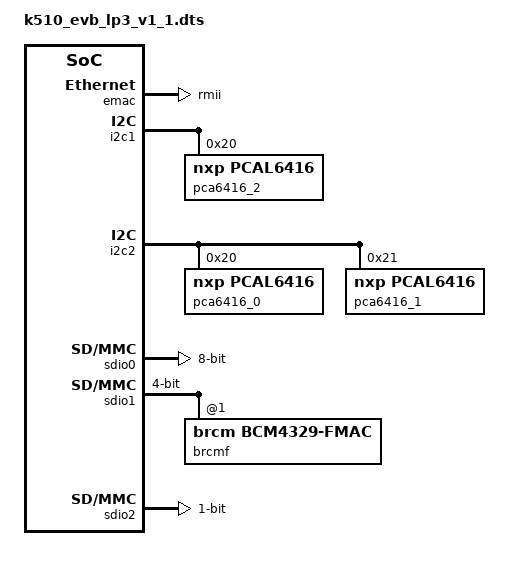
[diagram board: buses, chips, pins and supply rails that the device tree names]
/* Copyright (c) 2022, Canaan Bright Sight Co., Ltd
 *
 * This program is free software; you can redistribute it and/or modify
 * it under the terms of the GNU General Public License version 2 as
 * published by the Free Software Foundation.
*/
#include "k510_common/k510.dtsi"                    /* k510 soc top, include cpu/cache/memory/noc/axi/ahb/apb/sysctl etc. */
#include "k510_common/interrupt_provider.dtsi"      /* k510 soc interrupt controller */
#include "k510_common/interrupt_consumer.dtsi"      /* k510 soc and evb device interrupt consumer */
#include "k510_common/clock_provider.dtsi"          /* k510 soc clock tree */
#include "k510_common/clock_consumer.dtsi"          /* k510 soc and evb clock consumer */
#include "k510_common/reset_provider.dtsi"          /* k510 soc reset provider */
#include "k510_common/reset_consumer.dtsi"          /* k510 soc reset consumer */
#include "k510_common/power_provider.dtsi"          /* k510 soc power provider */
#include "k510_common/power_consumer.dtsi"          /* k510 soc power consumer */
#include "k510_common/dma_provider.dtsi"            /* k510 soc dma provider */
#include "k510_common/dma_consumer.dtsi"            /* k510 soc dma consumer */
#include "k510_common/gpio_provider.dtsi"           /* k510 soc gpio provider */
//#include "k510_common/gpio_consumer.dtsi"           /* k510 soc gpio consumer */
#include "k510_common/iomux_provider.dtsi"          /* k510 soc iomux provider */
#include "k510_common/iomux_consumer.dtsi"          /* k510 soc iomux consumer */

/* evalution board device tree, include nandflash/emmc/ethphy/sensor/hdmi/pmic etc. */

/ {
    chosen {
        bootargs            = "root=/dev/nfs rw nfsroot=10.100.226.63:/home/yangguang/nfs_server/k510_nfsroot ip=10.100.226.221:10.100.226.63:10.100.226.254:255.255.255.0:k510:eth0:off console=ttyS0,115200n8 debug loglevel=7";
        stdout-path         = "uart0:115200n8";
    };
};


&ddr_memory {
    reg = <0x0 0x00000000 0x0 0x8000000>;  /*0~128M*/
};

/*DSP: 128M to 136M*/
    
&sharem {
    reg = <0x0 0x8800000 0x0 0x17600000>;  /*136M~512M*/
};

&serial0 {
    clock-frequency = <25000000>;
    reg-shift = <2>;
    reg-io-width = <4>;
    no-loopback-test = <1>;
};

&spi0 {
    status = "okay";
    num-cs = <4>;
    reg-io-width = <4>;
    spi-nand@0 {
        #address-cells = <1>;
            #size-cells = <1>;
            compatible = "spi-nand";
            spi-max-frequency = <840000>;
            reg = <0 0 0 0>;
            partition@0 {
                    label = "uboot-1";
                    reg = <0x00000000 0x00100000>;
            };

            partition@100000 {
                    label = "uboot-2";
                    reg = <0x00100000 0x00100000>;
            };

            partition@200000 {
                    label = "uboot-2";
                    reg = <0x00200000 0x00100000>;
            };

            partition@300000 {
                    label = "env";
                    reg = <0x00300000 0x00020000>;
            };

            partition@320000 {
                    label = "dtb";
                    reg = <0x00320000 0x00020000>;
            };

            partition@340000 {
                    label = "kernel";
                    reg = <0x00340000 0x01CC0000>;
            };

            partition@2000000 {
                    label = "rootfs";
                    reg = <0x02000000 0x06000000>;
            };
    };
};

&iomux {
/*    pinctrl-0 = <&uart0_pins &emac_pins &mmc0_pins &mmc2_pins  &pwm0_pins &pwm1_pins &sensor_pins &i2c1_pins &i2c2_pins &spi0_pins &dvp_pins &bt1120_pins>;
*/
    uart0_pins: iomux_uart0_pins {
        pinctrl-k510,pins = <
            (112) (FUNC_UART0_SIN)
            (113) (FUNC_UART0_SOUT)
        >;
    };

    i2c1_pins: iomux_i2c1pins {
        pinctrl-k510,pins = <
            (116) (FUNC_I2C1_SDA)
            (117) (FUNC_I2C1_SCLK)
        >;
    };

    i2c2_pins: iomux_i2c2_pins {
        pinctrl-k510,pins = <
            (118) (FUNC_I2C2_SDA)
            (119) (FUNC_I2C2_SCLK)

        >;
    };

    spi0_pins: iomux_spi0_pins {
        pinctrl-k510,pins = <
          (86) (FUNC_SPI0_CLK)
          (87) (FUNC_SPI0_CS)
          (88) (FUNC_SPI0_D0)
          (89) (FUNC_SPI0_D1)
          (90) (FUNC_SPI0_D2)
          (91) (FUNC_SPI0_D3)
          (92) (FUNC_SPI0_D4)
          (93) (FUNC_SPI0_D5)
          (94) (FUNC_SPI0_D6)
          (95) (FUNC_SPI0_D7)
        >;
    };

    dvp_pins:omux_dvp_pins{
        pinctrl-k510,pins = <
            (51) (FUNC_DVP_D4   )
            (52) (FUNC_DVP_D5   )
            (53) (FUNC_DVP_D6   )
            (54) (FUNC_DVP_D7   )
            (55) (FUNC_DVP_D8   )
            (56) (FUNC_DVP_D9   )
            (57) (FUNC_DVP_D10  )
            (58) (FUNC_DVP_D11  )
            (59) (FUNC_DVP_D12  )
            (60) (FUNC_DVP_D13  )
            (61) (FUNC_DVP_D14  )
            (62) (FUNC_DVP_D15  )
            (63) (FUNC_DVP_VSYNC)
            (64) (FUNC_DVP_HREF )
            (66) (FUNC_DVP_PCLK )
        >;
    };
/*
    sensor_pins: iomux_sensor_pins {
        pinctrl-k510,pins = <
            (125) (FUNC_GPIO0)
            (123) (FUNC_GPIO1)
            (105) (FUNC_GPIO2)
            (107) (FUNC_GPIO3)
        >;
    };
*/
    gpio_pins: iomux_gpio_pins {
        pinctrl-k510,pins = <
            (125) (FUNC_GPIO0)
            (123) (FUNC_GPIO1)
            (105) (FUNC_GPIO2)
            (107) (FUNC_GPIO3)
        >;
    };

    bt1120_pins: iomux_bt1120_pins {
        pinctrl-k510,pins = <
                        (67) (FUNC_BT1120_OUT_DATA_D0)
                        (68) (FUNC_BT1120_OUT_DATA_D1)
                        (69) (FUNC_BT1120_OUT_DATA_D2)
                        (70) (FUNC_BT1120_OUT_DATA_D3)
                        (71) (FUNC_BT1120_OUT_DATA_D4)
                        (72) (FUNC_BT1120_OUT_DATA_D5)
                        (73) (FUNC_BT1120_OUT_DATA_D6)
                        (74) (FUNC_BT1120_OUT_DATA_D7)
                        (75) (FUNC_BT1120_OUT_DATA_C0)
                        (76) (FUNC_BT1120_OUT_DATA_C1)
                        (77) (FUNC_BT1120_OUT_DATA_C2)
                        (78) (FUNC_BT1120_OUT_DATA_C3)
                        (79) (FUNC_BT1120_OUT_DATA_C4)
                        (80) (FUNC_BT1120_OUT_DATA_C5)
                        (81) (FUNC_BT1120_OUT_DATA_C6)
                        (82) (FUNC_BT1120_OUT_DATA_C7)
                        (83) (FUNC_BT1120_OUT_CLK    )
                        (84) (FUNC_BT1120_OUT_VSYNC  )
                        (85) (FUNC_BT1120_OUT_HSYNC  )
        >;
    };

    pwm0_pins: iomux_pwm0_pins {
        pinctrl-k510,pins = <
            (17) (FUNC_PWM_PINS_1_IO_PINS_PWM_1_O_OVAL)
        >;
    };

    pwm1_pins: iomux_pwm1_pins {
        pinctrl-k510,pins = <
            (18) (FUNC_PWM_PINS_1_IO_PINS_PWM_5_O_OVAL)
        >;
    };

};

&serial0 {
    pinctrl-names = "default";
    pinctrl-0 = <&uart0_pins>;

};

&emac {
    phy-mode = "rmii";

    pinctrl-names = "default";
    pinctrl-0 = <&emac_pins>;
};


&i2c0 {
    status = "disable";
};

&i2c1 {
    #address-cells  = <1>;
    #size-cells     = <0>;
    status = "okay";
    pinctrl-names = "default";
    pinctrl-0 = <&i2c1_pins>;

    pca6416_2: gpio@20 {
                compatible = "nxp,pcal6416";
                reg = <0x20>;
                gpio-controller;
                #gpio-cells = <2>;
        };

};

// pcal6416 & mipi csi imx219
&i2c2 {
    #address-cells  = <1>;
    #size-cells     = <0>;
    status = "okay";
    pinctrl-names = "default";
    pinctrl-0 = <&i2c2_pins>;

    pca6416_0: gpio@20 {
        compatible = "nxp,pcal6416";
        reg = <0x20>;
        gpio-controller;
        #gpio-cells = <2>;

    };


    pca6416_1: gpio@21 {
                compatible = "nxp,pcal6416";
                reg = <0x21>;
        gpio-controller;
                #gpio-cells = <2>;
        };

};


&i2c3 {
    status = "disable";
};

&i2c4 {
    status = "disable";
};

&i2c5 {
    status = "disable";
};

&i2c6 {
    status = "disable";
};

&sdio0 {
    status    = "okay";
    bus-width = <8>;
    //mmc-pwrseq = <&emmc_pwrseq>;

    pinctrl-names = "default";
    pinctrl-0 = <&mmc0_pins>;

};

&sdio1 {
    status = "okay";

    bus-width = <4>;
    #address-cells = <1>;
    #size-cells = <0>;
    brcmf: wifi@1 {
        reg = <1>;
        compatible = "brcm,bcm4329-fmac";
    };
};

&sdio2 {
    status    = "okay";
    bus-width = <1>;
    cap-sd-highspeed;

    pinctrl-names = "default";
    pinctrl-0 = <&mmc2_pins>;

};

&spi0 {
    status = "disable";

    pinctrl-names = "default";
    pinctrl-0 = <&spi0_pins>;

};

&spi1 {
    status = "disable";
};

&spi2 {
    status = "disable";
};

&spis {
    status = "disable";
};

&gpio {
    pinctrl-names = "default";
    pinctrl-0 = <&gpio_pins>;
};

&isp {
    compatible = "isp";
    reg = <0x0 0x92600000 0x0 0x200000>;

    dsi_en-gpios = <&pca6416_2 12 GPIO_ACTIVE_HIGH>;
    dsi_rest-gpios = <&pca6416_2 3 GPIO_ACTIVE_LOW>;
    csi_en-gpios = <&pca6416_2 4 GPIO_ACTIVE_HIGH>;

    imx385_powerdown-gpios = <&porta 0 GPIO_ACTIVE_HIGH>;
    imx385_reset-gpios = <&porta 1 GPIO_ACTIVE_HIGH>;

    irs3281_powerdown-gpios = <&porta 2 GPIO_ACTIVE_HIGH>;
    irs3281_reset-gpios = <&porta 3 GPIO_ACTIVE_HIGH>;

    dvp_powerdown-gpios = <&porta 4 GPIO_ACTIVE_HIGH>;

    pinctrl-names = "default";
    pinctrl-0 = <&dvp_pins &bt1120_pins>;
};

&gnne {
    compatible = "k510-gnne";
    reg = <0x0 0x94180000 0x0 0x80000>;
};

&h264 {
    compatible = "al,al5r";
    reg = <0x0 0x92740000 0x0 0x10000>;
};

&dsp {
    compatible = "k510-dsp";
    sysctl-phy-addr = <0x97000000>;
};

&usb {
    reg = <0x0 0x93060000 0x0 0x10000>;
};

&pwm0 {
    pinctrl-names = "default";
    pinctrl-0 = <&pwm0_pins>;

};

&pwm1 {
    pinctrl-names = "default";
    pinctrl-0 = <&pwm1_pins>;

};
